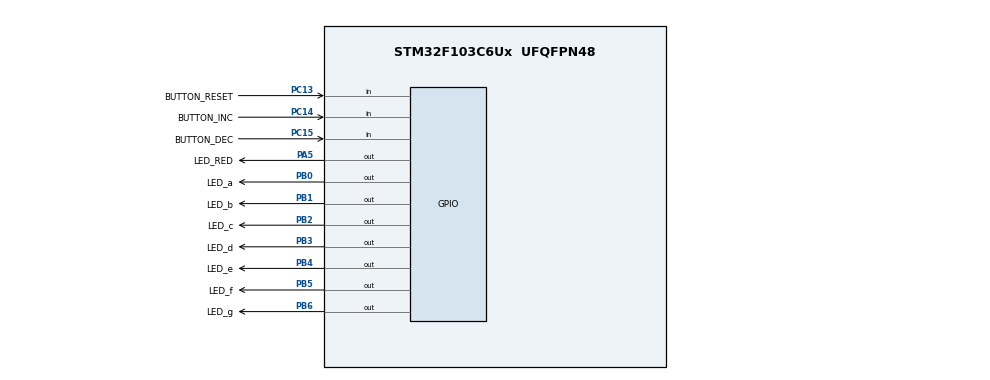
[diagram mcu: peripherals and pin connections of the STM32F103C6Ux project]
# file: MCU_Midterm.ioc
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Mcu.Family=STM32F1
Mcu.Name=STM32F103C6Ux
Mcu.Package=UFQFPN48
NVIC.PriorityGroup=NVIC_PRIORITYGROUP_4
NVIC.TIM2_IRQn=true\:0\:0\:false\:false\:true\:true\:true
PA5.GPIO_Label=LED_RED
PA5.Signal=GPIO_Output
PB0.GPIO_Label=LED_a
PB0.Signal=GPIO_Output
PB1.GPIO_Label=LED_b
PB1.Signal=GPIO_Output
PB2.GPIO_Label=LED_c
PB2.Signal=GPIO_Output
PB3.GPIO_Label=LED_d
PB3.Signal=GPIO_Output
PB4.GPIO_Label=LED_e
PB4.Signal=GPIO_Output
PB5.GPIO_Label=LED_f
PB5.Signal=GPIO_Output
PB6.GPIO_Label=LED_g
PB6.Signal=GPIO_Output
PC13-TAMPER-RTC.GPIO_Label=BUTTON_RESET
PC13-TAMPER-RTC.GPIO_PuPd=GPIO_PULLUP
PC13-TAMPER-RTC.Signal=GPIO_Input
PC14-OSC32_IN.GPIO_Label=BUTTON_INC
PC14-OSC32_IN.GPIO_PuPd=GPIO_PULLUP
PC14-OSC32_IN.Signal=GPIO_Input
PC15-OSC32_OUT.GPIO_Label=BUTTON_DEC
PC15-OSC32_OUT.GPIO_PuPd=GPIO_PULLUP
PC15-OSC32_OUT.Signal=GPIO_Input
ProjectManager.HeapSize=0x200
ProjectManager.StackSize=0x400
ProjectManager.TargetToolchain=STM32CubeIDE
RCC.APB1Freq_Value=8000000
RCC.APB2Freq_Value=8000000
TIM2.Period=9
TIM2.Prescaler=7999
VP_SYS_VS_ND.Mode=No_Debug
VP_TIM2_VS_ClockSourceINT.Mode=Internal
board=custom

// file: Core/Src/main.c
/* USER CODE BEGIN Header */
/**
  ******************************************************************************
  * @file           : main.c
  * @brief          : Main program body
  ******************************************************************************
  * @attention
  *
  * <h2><center>&copy; Copyright (c) 2022 STMicroelectronics.
  * All rights reserved.</center></h2>
  *
  * This software component is licensed by ST under BSD 3-Clause license,
  * the "License"; You may not use this file except in compliance with the
  * License. You may obtain a copy of the License at:
  *                        opensource.org/licenses/BSD-3-Clause
  *
  ******************************************************************************
  */
/* USER CODE END Header */
#include "main.h"

/* USER CODE BEGIN Includes */
#include "software_timer.h"
#include "button.h"
#include "fsm.h"
#include "fsm1.h"
#include "fsm2.h"
/* USER CODE END Includes */

TIM_HandleTypeDef htim2;

void SystemClock_Config(void);
static void MX_TIM2_Init(void);
static void MX_GPIO_Init(void);

int main(void)
{

  /* MCU Configuration--------------------------------------------------------*/

  /* Reset of all peripherals, Initializes the Flash interface and the Systick. */
  HAL_Init();

  /* Configure the system clock */
  SystemClock_Config();

  /* Initialize all configured peripherals */
  MX_TIM2_Init();
  MX_GPIO_Init();
  /* USER CODE BEGIN 2 */
  HAL_TIM_Base_Start_IT(&htim2);
  /* USER CODE END 2 */

  /* Infinite loop */
  /* USER CODE BEGIN WHILE */
  status = INIT;
  SetTimer4(1000);
  while (1)
  {
	  if (timer4_flag == 1) {
		  HAL_GPIO_TogglePin(LED_RED_GPIO_Port, LED_RED_Pin);
		  SetTimer4(1000);
	  }
	  fsm_simple_buttons_run();
	  fsm1_run();
    /* USER CODE END WHILE */

  }
}

void SystemClock_Config(void)
{
  RCC_OscInitTypeDef RCC_OscInitStruct = {0};
  RCC_ClkInitTypeDef RCC_ClkInitStruct = {0};

  /** Initializes the RCC Oscillators according to the specified parameters
  * in the RCC_OscInitTypeDef structure.
  */
  RCC_OscInitStruct.OscillatorType = RCC_OSCILLATORTYPE_HSI;
  RCC_OscInitStruct.HSIState = RCC_HSI_ON;
  RCC_OscInitStruct.HSICalibrationValue = RCC_HSICALIBRATION_DEFAULT;
  RCC_OscInitStruct.PLL.PLLState = RCC_PLL_NONE;
  if (HAL_RCC_OscConfig(&RCC_OscInitStruct) != HAL_OK)
  {
    Error_Handler();
  }
  /** Initializes the CPU, AHB and APB buses clocks
  */
  RCC_ClkInitStruct.ClockType = RCC_CLOCKTYPE_HCLK|RCC_CLOCKTYPE_SYSCLK
                              |RCC_CLOCKTYPE_PCLK1|RCC_CLOCKTYPE_PCLK2;
  RCC_ClkInitStruct.SYSCLKSource = RCC_SYSCLKSOURCE_HSI;
  RCC_ClkInitStruct.AHBCLKDivider = RCC_SYSCLK_DIV1;
  RCC_ClkInitStruct.APB1CLKDivider = RCC_HCLK_DIV1;
  RCC_ClkInitStruct.APB2CLKDivider = RCC_HCLK_DIV1;

  if (HAL_RCC_ClockConfig(&RCC_ClkInitStruct, FLASH_LATENCY_0) != HAL_OK)
  {
    Error_Handler();
  }
}

static void MX_TIM2_Init(void)
{

  TIM_ClockConfigTypeDef sClockSourceConfig = {0};
  TIM_MasterConfigTypeDef sMasterConfig = {0};

  htim2.Instance = TIM2;
  htim2.Init.Prescaler = 7999;
  htim2.Init.CounterMode = TIM_COUNTERMODE_UP;
  htim2.Init.Period = 9;
  htim2.Init.ClockDivision = TIM_CLOCKDIVISION_DIV1;
  htim2.Init.AutoReloadPreload = TIM_AUTORELOAD_PRELOAD_DISABLE;
  if (HAL_TIM_Base_Init(&htim2) != HAL_OK)
  {
    Error_Handler();
  }
  sClockSourceConfig.ClockSource = TIM_CLOCKSOURCE_INTERNAL;
  if (HAL_TIM_ConfigClockSource(&htim2, &sClockSourceConfig) != HAL_OK)
  {
    Error_Handler();
  }
  sMasterConfig.MasterOutputTrigger = TIM_TRGO_RESET;
  sMasterConfig.MasterSlaveMode = TIM_MASTERSLAVEMODE_DISABLE;
  if (HAL_TIMEx_MasterConfigSynchronization(&htim2, &sMasterConfig) != HAL_OK)
  {
    Error_Handler();
  }

}

static void MX_GPIO_Init(void)
{
  GPIO_InitTypeDef GPIO_InitStruct = {0};

  /* GPIO Ports Clock Enable */
  __HAL_RCC_GPIOC_CLK_ENABLE();
  __HAL_RCC_GPIOA_CLK_ENABLE();
  __HAL_RCC_GPIOB_CLK_ENABLE();

  /*Configure GPIO pin Output Level */
  HAL_GPIO_WritePin(LED_RED_GPIO_Port, LED_RED_Pin, GPIO_PIN_RESET);

  /*Configure GPIO pin Output Level */
  HAL_GPIO_WritePin(GPIOB, LED_a_Pin|LED_b_Pin|LED_c_Pin|LED_d_Pin
                          |LED_e_Pin|LED_f_Pin|LED_g_Pin, GPIO_PIN_RESET);

  /*Configure GPIO pins : BUTTON_RESET_Pin BUTTON_INC_Pin BUTTON_DEC_Pin */
  GPIO_InitStruct.Pin = BUTTON_RESET_Pin|BUTTON_INC_Pin|BUTTON_DEC_Pin;
  GPIO_InitStruct.Mode = GPIO_MODE_INPUT;
  GPIO_InitStruct.Pull = GPIO_PULLUP;
  HAL_GPIO_Init(GPIOC, &GPIO_InitStruct);

  /*Configure GPIO pin : LED_RED_Pin */
  GPIO_InitStruct.Pin = LED_RED_Pin;
  GPIO_InitStruct.Mode = GPIO_MODE_OUTPUT_PP;
  GPIO_InitStruct.Pull = GPIO_NOPULL;
  GPIO_InitStruct.Speed = GPIO_SPEED_FREQ_LOW;
  HAL_GPIO_Init(LED_RED_GPIO_Port, &GPIO_InitStruct);

  /*Configure GPIO pins : LED_a_Pin LED_b_Pin LED_c_Pin LED_d_Pin
                           LED_e_Pin LED_f_Pin LED_g_Pin */
  GPIO_InitStruct.Pin = LED_a_Pin|LED_b_Pin|LED_c_Pin|LED_d_Pin
                          |LED_e_Pin|LED_f_Pin|LED_g_Pin;
  GPIO_InitStruct.Mode = GPIO_MODE_OUTPUT_PP;
  GPIO_InitStruct.Pull = GPIO_NOPULL;
  GPIO_InitStruct.Speed = GPIO_SPEED_FREQ_LOW;
  HAL_GPIO_Init(GPIOB, &GPIO_InitStruct);

}

/* USER CODE BEGIN 4 */
void HAL_TIM_PeriodElapsedCallback(TIM_HandleTypeDef *htim) {
	TimerRun();
	GetKeyInput1();
	GetKeyInput2();
	GetKeyInput3();
}
/* USER CODE END 4 */

void Error_Handler(void)
{
  __disable_irq();
  while (1)
  {
  }
}

/************************ (C) COPYRIGHT STMicroelectronics *****END OF FILE****/
